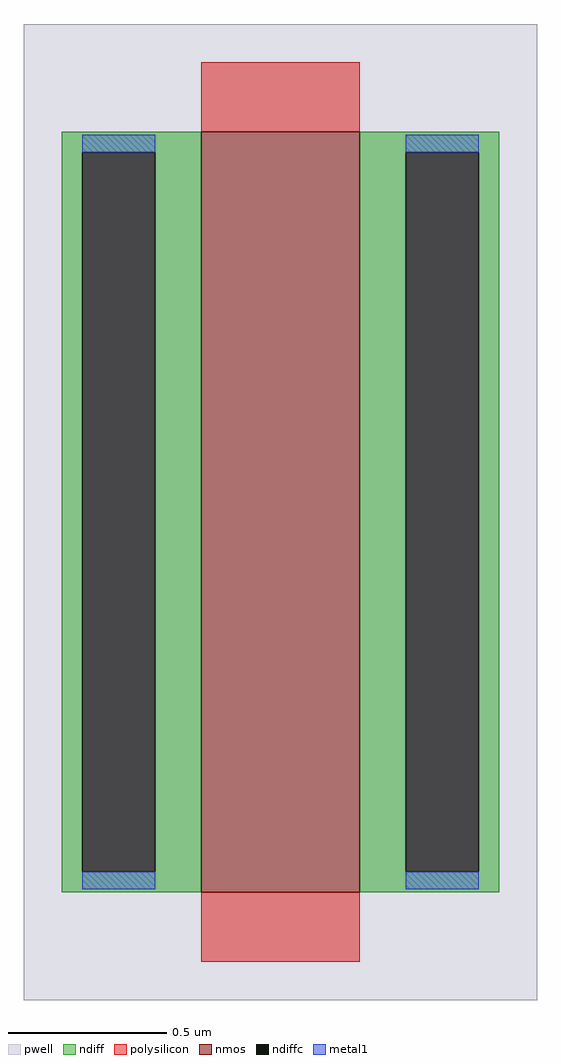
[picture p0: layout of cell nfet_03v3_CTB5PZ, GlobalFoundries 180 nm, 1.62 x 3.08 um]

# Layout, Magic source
magic
tech gf180mcuC
magscale 1 10
<< pwell >>
rect -162 -308 162 308
<< nmos >>
rect -50 -240 50 240
<< ndiff >>
rect -138 227 -50 240
rect -138 -227 -125 227
rect -79 -227 -50 227
rect -138 -240 -50 -227
rect 50 227 138 240
rect 50 -227 79 227
rect 125 -227 138 227
rect 50 -240 138 -227
<< ndiffc >>
rect -125 -227 -79 227
rect 79 -227 125 227
<< polysilicon >>
rect -50 240 50 284
rect -50 -284 50 -240
<< metal1 >>
rect -125 227 -79 238
rect -125 -238 -79 -227
rect 79 227 125 238
rect 79 -238 125 -227
<< properties >>
string gencell nfet_03v3
string library gf180mcu
string parameters w 2.4 l 0.5 m 1 nf 1 diffcov 100 polycov 100 guard 0 glc 0 grc 0 gtc 0 gbc 0 tbcov 100 rlcov 100 topc 0 botc 0 poverlap 0 doverlap 1 lmin 0.28 wmin 0.22 full_metal 0 compatible {nfet_03v3 nfet_06v0 nfet_06v0_nvt}
<< end >>
